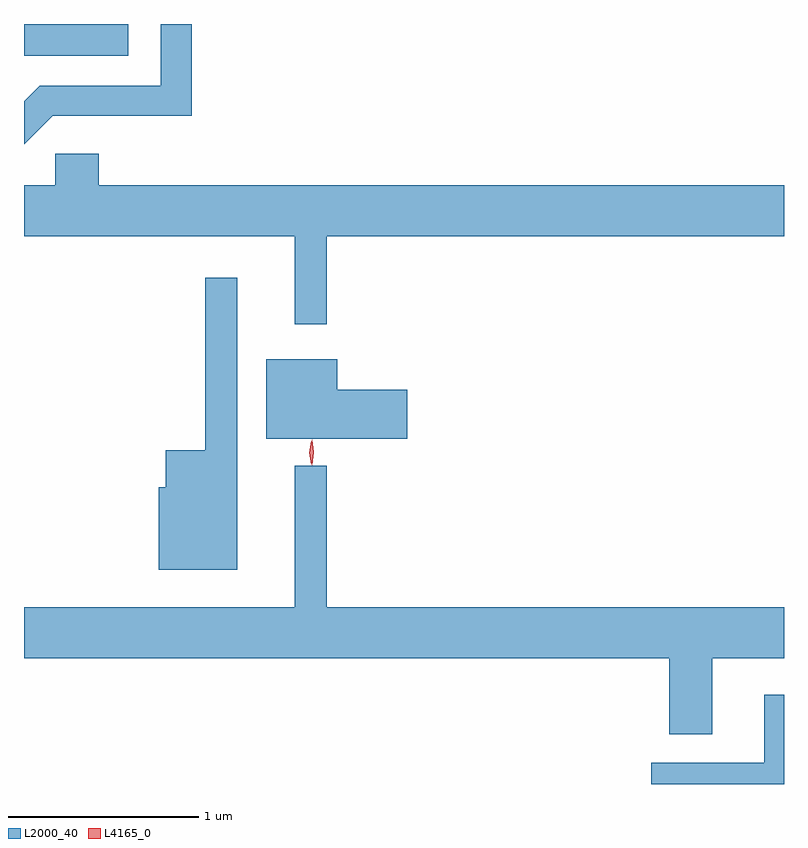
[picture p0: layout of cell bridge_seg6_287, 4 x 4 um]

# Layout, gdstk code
import gdstk
lib = gdstk.Library(unit=1e-6, precision=1e-09)
def R(c, l, rs):  # rectangles x0, y0, x1, y1
    for r in rs: c.add(gdstk.rectangle(r[:2], r[2:], *l))
def P(c, l, *ps):  # polygons
    for p in ps: c.add(gdstk.Polygon(p, *l))
L2000_40 = (2000, 40)
L4165_0 = (4165, 0)

bridge_seg6_287 = lib.new_cell('bridge_seg6_287')
R(bridge_seg6_287, L2000_40, [(1226.536,1557.646,1227.084,1557.813)])
P(bridge_seg6_287, L2000_40, [(1226.687,1557.331),(1227.419,1557.331),(1227.419,1557.813),(1227.256,1557.813),(1227.256,1557.489),(1226.619,1557.489),(1226.536,1557.406),(1226.536,1557.18)],
  [(1228.129,1556.696),(1230.536,1556.696),(1230.536,1556.964),(1226.929,1556.964),(1226.929,1557.129),(1226.701,1557.129),(1226.701,1556.964),(1226.536,1556.964),(1226.536,1556.696),(1227.961,1556.696),(1227.961,1556.233),(1228.129,1556.233)],
  [(1227.659,1556.478),(1227.491,1556.478),(1227.491,1555.569),(1227.281,1555.569),(1227.281,1555.374),(1227.246,1555.374),(1227.246,1554.941),(1227.659,1554.941)],
  [(1228.554,1555.889),(1228.184,1555.889),(1228.184,1556.049),(1227.811,1556.049),(1227.811,1555.631),(1228.554,1555.631)],
  [(1230.159,1554.476),(1230.536,1554.476),(1230.536,1554.744),(1228.129,1554.744),(1228.129,1555.488),(1227.961,1555.488),(1227.961,1554.744),(1226.536,1554.744),(1226.536,1554.476),(1229.931,1554.476),(1229.931,1554.076),(1230.159,1554.076)],
  [(1230.536,1554.284),(1230.431,1554.284),(1230.431,1553.924),(1229.836,1553.924),(1229.836,1553.813),(1230.536,1553.813)])
P(bridge_seg6_287, L4165_0, [(1228.052,1555.49),(1228.052,1555.49),(1228.042,1555.558),(1228.052,1555.626),(1228.052,1555.626),(1228.052,1555.626),(1228.062,1555.558),(1228.052,1555.49)],
  [(1228.048,1555.493),(1228.048,1555.493),(1228.038,1555.556),(1228.048,1555.619),(1228.048,1555.62),(1228.049,1555.619),(1228.058,1555.556),(1228.049,1555.493)])

lib.write_gds('bridge_seg6_287.gds')
